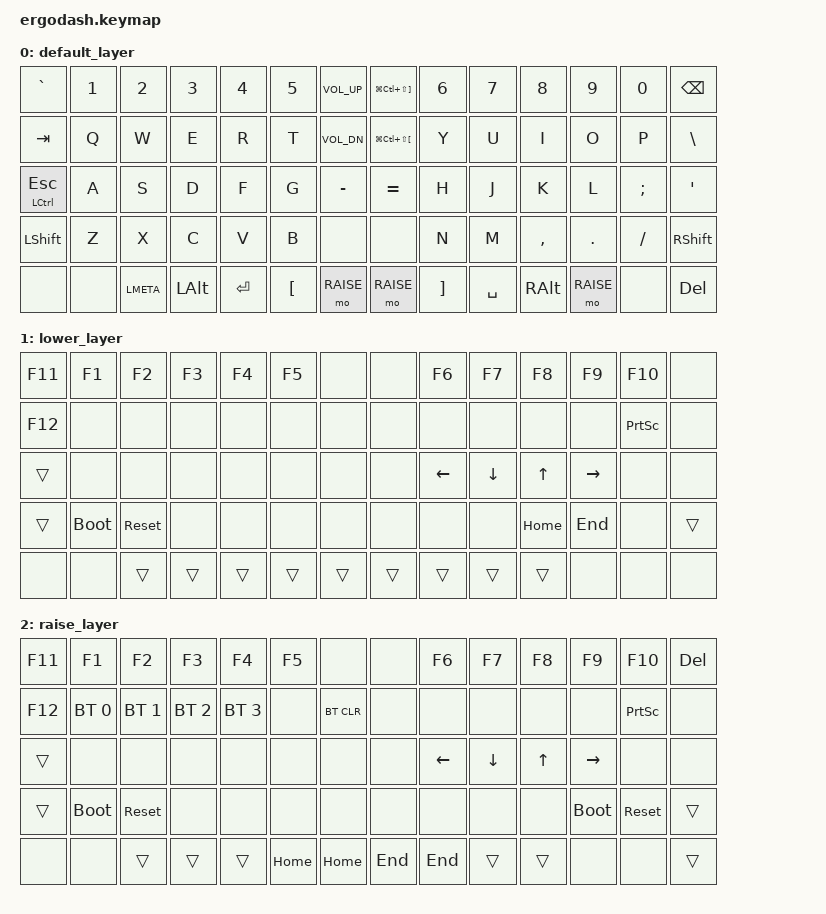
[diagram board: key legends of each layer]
/*
 * Copyright (c) 2020 The ZMK Contributors
 *
 * SPDX-License-Identifier: MIT
 */

#include <behaviors.dtsi>
#include <dt-bindings/zmk/keys.h>
#include <dt-bindings/zmk/bt.h>

#define DEFAULT 0
#define LOWER   1
#define RAISE   2


/ {
  keymap {
    compatible = "zmk,keymap";

    default_layer {
/* QWERTY
 * .------------------------------------------------------------------------------------------------------------------------.
 * |    `   |   1  |   2  |   3  |   4  |   5  |VOL_UP|                    |BRI_UP|   6  |   7  |   8  |   9  |   0  |Backsp|
 * |--------+------+------+------+------+------+------+--------------------+------+------+------+------+------+------+------|
 * |   Tab  |   Q  |   W  |   E  |   R  |   T  |VOL_DN|                    |BRI_DN|   Y  |   U  |   I  |   O  |   P  |  \   |
 * |--------+------+------+------+------+------+------+--------------------+------+------+------+------+------+------+------|
 * |Ctrl/Esc|   A  |   S  |   D  |   F  |   G  |  -   |                    |  =   |   H  |   J  |   K  |   L  |   ;  |  '   |
 * |--------+------+------+------+------+------+---------------------------+------+------+------+------+------+------+------|
 * |  Shift |   Z  |   X  |   C  |   V  |   B  |      |                    |      |   N  |   M  |   ,  |   .  |   /  |Shift |
 * |--------+------+------+------+------+------+------+------+------+------+------+------+------+------+------+-------------|
 * |        |      | Win  |  Alt |||||||| Enter|   [  |RAISE |||||||| RAISE|  ]   | Space|||||||| Alt  |Raise |      | Del  |
 * .------------------------------------------------------------------------------------------------------------------------.
 */
      bindings = <
&kp  GRAVE      &kp  N1       &kp  N2       &kp  N3       &kp  N4       &kp  N5       &kp  C_VOL_UP          &kp LG(LC(LS(RBKT))) &kp  N6       &kp  N7       &kp  N8       &kp  N9       &kp  N0       &kp  BSPC
&kp  TAB        &kp  Q        &kp  W        &kp  E        &kp  R        &kp  T        &kp  C_VOL_DN          &kp LG(LC(LS(LBKT))) &kp  Y        &kp  U        &kp  I        &kp  O        &kp  P        &kp  BSLH
&mt  LCTRL ESC  &kp  A        &kp  S        &kp  D        &kp  F        &kp  G        &kp  MINUS             &kp EQUAL            &kp  H        &kp  J        &kp  K        &kp  L        &kp  SEMI     &kp  SQT
&kp  LSHFT      &kp  Z        &kp  X        &kp  C        &kp  V        &kp  B        &none                  &none                &kp  N        &kp  M        &kp  COMMA    &kp  DOT      &kp  SLASH    &kp  RSHFT
&none           &none         &kp  LMETA    &kp  LALT     &kp  ENTER    &kp  LBKT     &mo  RAISE             &mo RAISE            &kp  RBKT     &kp  SPACE    &kp  RALT     &mo  RAISE    &none         &kp  DEL
      >;
    };
    lower_layer {
/* .------------------------------------------------------------------------------------------------------------------------.
 * |   F11  |  F1  |  F2  |  F3  |  F4  |  F5  |      |                    |      |  F6  |  F7  |  F8  |  F9  |  F10 |  F12 |
 * |--------+------+------+------+------+------+------+--------------------+------+------+------+------+------+------+------|
 * |   F12  |      |      |      |      |      |      |                    |      |      |      |      |      |PSCRN |      |
 * |--------+------+------+------+------+------+------+--------------------+------+------+------+------+------+------+------|
 * |  trans |      |      |      |      |      |      |                    |      | LEFT | DOWN |  UP  | RIGHT|      |      |
 * |--------+------+------+------+------+------+---------------------------+------+------+------+------+------+------+------|
 * |  trans | Boot | Reset|      |      |      |      |                    |      |      |      | HOME |  END |      |trans |
 * |--------+------+------+------+------+------+------+------+------+------+------+------+------+------+------+-------------|
 * |        |      | trans| trans|||||||| trans| trans| trans||||||||trans |trans |trans ||||||||trans |Raise |      |      |
 * .------------------------------------------------------------------------------------------------------------------------.
 */
      bindings = <
&kp  F11      &kp  F1       &kp  F2       &kp  F3       &kp  F4       &kp  F5       &none                  &none         &kp  F6       &kp  F7       &kp  F8       &kp  F9       &kp  F10      &none
&kp  F12      &none         &none         &none         &none         &none         &none                  &none         &none         &none         &none         &none         &kp  PSCRN    &none
&trans        &none         &none         &none         &none         &none         &none                  &none         &kp  LEFT     &kp  DOWN     &kp  UP       &kp  RIGHT    &none         &none
&trans        &bootloader   &sys_reset    &none         &none         &none         &none                  &none         &none         &none         &kp  HOME     &kp  END      &none         &trans
&none         &none         &trans        &trans        &trans        &trans        &trans                 &trans        &trans        &trans        &trans        &none         &none         &none
      >;
    };
    raise_layer {
/* .------------------------------------------------------------------------------------------------------------------------.
 * |   F11  |  F1  |  F2  |  F3  |  F4  |  F5  |      |                    |      |  F6  |  F7  |  F8  |  F9  |  F10 | Del  |
 * |--------+------+------+------+------+------+------+--------------------+------+------+------+------+------+------+------|
 * |   F12  | BT 0 | BT 1 | BT 2 | BT 3 |      | BTCL |                    |      |      |      |      |      |PSCRN |      |
 * |--------+------+------+------+------+------+------+--------------------+------+------+------+------+------+------+------|
 * |  trans |      |      |      |      |      |      |                    |      | LEFT | DOWN |  UP  | RIGHT|      |      |
 * |--------+------+------+------+------+------+---------------------------+------+------+------+------+------+------+------|
 * |  trans |      |      |      |      |      |      |                    |      |      |      |      | Boot | Reset|trans |
 * |---------------+------+------+------+------+------+------+------+------+------+------+------+------+------+-------------|
 * |        |      | trans| trans|||||||| trans| HOME | HOME |||||||| END  | END  |trans ||||||||trans |Raise |      |trans |
 * .------------------------------------------------------------------------------------------------------------------------.
 */
      bindings = <
&kp  F11      &kp  F1       &kp  F2       &kp  F3       &kp  F4       &kp  F5       &none                  &none         &kp  F6       &kp  F7       &kp  F8       &kp  F9       &kp  F10      &kp  DEL
&kp  F12      &bt BT_SEL 0  &bt BT_SEL 1  &bt BT_SEL 2  &bt BT_SEL 3  &none         &bt BT_CLR             &none         &none         &none         &none         &none         &kp  PSCRN    &none
&trans        &none         &none         &none         &none         &none         &none                  &none         &kp  LEFT     &kp  DOWN     &kp  UP       &kp  RIGHT    &none         &none
&trans        &bootloader   &sys_reset    &none         &none         &none         &none                  &none         &none         &none         &none         &bootloader   &sys_reset    &trans
&none         &none         &trans        &trans        &trans        &kp HOME      &kp HOME               &kp END       &kp END       &trans        &trans        &none         &none         &trans
      >;
    };
  };
};

